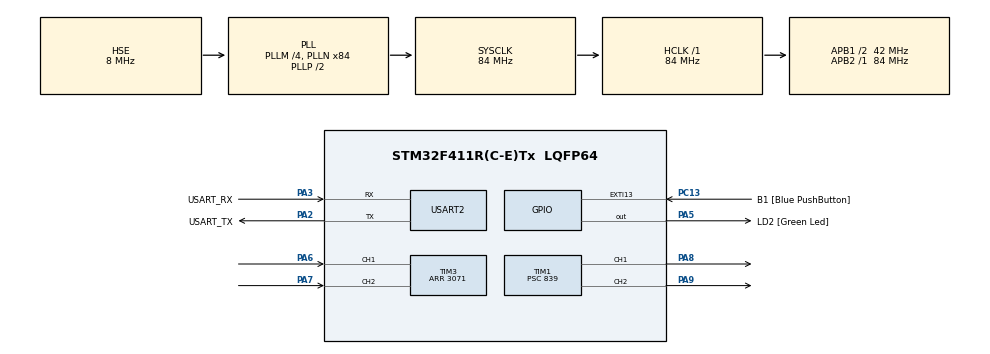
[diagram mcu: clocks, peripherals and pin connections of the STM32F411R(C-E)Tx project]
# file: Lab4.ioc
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ARM.CMSIS.5.6.0.CMSISJjCORE=true
ARM.CMSIS.5.6.0.CMSISJjDSP=Library
Mcu.Family=STM32F4
Mcu.Name=STM32F411R(C-E)Tx
Mcu.Package=LQFP64
NVIC.PriorityGroup=NVIC_PRIORITYGROUP_0
PA13.GPIO_Label=TMS
PA13.Mode=Trace_Asynchronous_SW
PA13.Signal=SYS_JTMS-SWDIO
PA14.GPIO_Label=TCK
PA14.Mode=Trace_Asynchronous_SW
PA14.Signal=SYS_JTCK-SWCLK
PA2.GPIO_Label=USART_TX
PA2.Mode=Asynchronous
PA2.Signal=USART2_TX
PA3.GPIO_Label=USART_RX
PA3.Mode=Asynchronous
PA3.Signal=USART2_RX
PA5.GPIO_Label=LD2 [Green Led]
PA5.Signal=GPIO_Output
PA6.Signal=S_TIM3_CH1
PA7.Signal=S_TIM3_CH2
PA8.Signal=S_TIM1_CH1
PA9.Signal=S_TIM1_CH2
PB3.GPIO_Label=SWO
PB3.Mode=Trace_Asynchronous_SW
PB3.Signal=SYS_JTDO-SWO
PC13-ANTI_TAMP.GPIO_Label=B1 [Blue PushButton]
PC13-ANTI_TAMP.GPIO_ModeDefaultEXTI=GPIO_MODE_IT_FALLING
PC13-ANTI_TAMP.Signal=GPXTI13
PC14-OSC32_IN.Mode=LSE-External-Oscillator
PC14-OSC32_IN.Signal=RCC_OSC32_IN
PC15-OSC32_OUT.Mode=LSE-External-Oscillator
PC15-OSC32_OUT.Signal=RCC_OSC32_OUT
PH0\ -\ OSC_IN.Mode=HSE-External-Clock-Source
PH0\ -\ OSC_IN.Signal=RCC_OSC_IN
PH1\ -\ OSC_OUT.Mode=HSE-External-Clock-Source
PH1\ -\ OSC_OUT.Signal=RCC_OSC_OUT
ProjectManager.HeapSize=0x200
ProjectManager.StackSize=0x400
ProjectManager.TargetToolchain=STM32CubeIDE
RCC.48MHZClocksFreq_Value=42000000
RCC.AHBFreq_Value=84000000
RCC.APB1CLKDivider=RCC_HCLK_DIV2
RCC.APB1Freq_Value=42000000
RCC.APB1TimFreq_Value=84000000
RCC.APB2Freq_Value=84000000
RCC.APB2TimFreq_Value=84000000
RCC.CortexFreq_Value=84000000
RCC.FLatency-AdvancedSettings=FLASH_LATENCY_2
RCC.HCLKFreq_Value=84000000
RCC.HSE_VALUE=8000000
RCC.HSI_VALUE=16000000
RCC.PLLM=4
RCC.PLLN=84
RCC.PLLSourceVirtual=RCC_PLLSOURCE_HSE
RCC.SYSCLKFreq_VALUE=84000000
RCC.SYSCLKSource=RCC_SYSCLKSOURCE_PLLCLK
RCC.VCOOutputFreq_Value=168000000
SH.S_TIM1_CH1.0=TIM1_CH1,PWM Generation1 CH1
SH.S_TIM1_CH2.0=TIM1_CH2,PWM Generation2 CH2
SH.S_TIM3_CH1.0=TIM3_CH1,Encoder_Interface
SH.S_TIM3_CH2.0=TIM3_CH2,Encoder_Interface
TIM1.Channel-PWM\ Generation1\ CH1=TIM_CHANNEL_1
TIM1.Channel-PWM\ Generation2\ CH2=TIM_CHANNEL_2
TIM1.OCMode_PWM-PWM\ Generation2\ CH2=TIM_OCMODE_PWM1
TIM1.Period=99
TIM1.Prescaler=839
TIM3.EncoderMode=TIM_ENCODERMODE_TI12
TIM3.Period=3071
USART2.VirtualMode=VM_ASYNC
VP_ARM.CMSIS_VS_CMSISJjCORE_5.3.0_5.6.0.Mode=CMSISJjCORE
VP_ARM.CMSIS_VS_CMSISJjDSP_1.7.0_5.6.0.Mode=CMSISJjDSP
VP_TIM1_VS_ClockSourceINT.Mode=Internal
board=NUCLEO-F411RE

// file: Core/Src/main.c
/* USER CODE BEGIN Header */
/**
  ******************************************************************************
  * @file           : main.c
  * @brief          : Main program body
  ******************************************************************************
  * @attention
  *
  * Copyright (c) 2023 STMicroelectronics.
  * All rights reserved.
  *
  * This software is licensed under terms that can be found in the LICENSE file
  * in the root directory of this software component.
  * If no LICENSE file comes with this software, it is provided AS-IS.
  *
  ******************************************************************************
  */
/* USER CODE END Header */
#include "main.h"

/* USER CODE BEGIN Includes */
#include "arm_math.h"
//�?ัณณ�?ัฒ�?�? เ�?ตุ�?�?�?ว
/* USER CODE END Includes */

TIM_HandleTypeDef htim1;
TIM_HandleTypeDef htim3;

UART_HandleTypeDef huart2;

/* USER CODE BEGIN PV */
uint32_t QEIReadRaw;
float count_encoder_round;
float current_position;
float setPosition;
float setPos;

uint32_t duty;
uint32_t Duty_A;
uint32_t Duty_B;

arm_pid_instance_f32 PID = {0};
float output_pid;
uint32_t settlingstate;
uint32_t settling_c;
 uint32_t settling_l;
 uint32_t settling_ll;
 uint32_t settling_lll;
 uint32_t settling_llll;

/* USER CODE END PV */

void SystemClock_Config(void);
static void MX_GPIO_Init(void);
static void MX_USART2_UART_Init(void);
static void MX_TIM1_Init(void);
static void MX_TIM3_Init(void);
/* USER CODE BEGIN PFP */
void PositionUpdate();
void DriveMotor();
/* USER CODE END PFP */

int main(void)
{

  /* MCU Configuration--------------------------------------------------------*/

  /* Reset of all peripherals, Initializes the Flash interface and the Systick. */
  HAL_Init();

  /* Configure the system clock */
  SystemClock_Config();

  /* Initialize all configured peripherals */
  MX_GPIO_Init();
  MX_USART2_UART_Init();
  MX_TIM1_Init();
  MX_TIM3_Init();
  /* USER CODE BEGIN 2 */
HAL_TIM_Encoder_Start(&htim3, TIM_CHANNEL_1|TIM_CHANNEL_2);

HAL_TIM_Base_Start(&htim1);
HAL_TIM_PWM_Start(&htim1, TIM_CHANNEL_1);
HAL_TIM_PWM_Start(&htim1, TIM_CHANNEL_2);

PID.Kp = 3;
PID.Ki = 0.000001064418;
PID.Kd = 19.5;
arm_pid_init_f32(&PID, 0);
  /* USER CODE END 2 */

  /* Infinite loop */
  while (1)
  {

    /* USER CODE BEGIN 3 */
	  static uint32_t timestamp = 0;
	  if (HAL_GetTick() >= timestamp) {
		timestamp = HAL_GetTick() + 10; //100,000Hz

		  	  PositionUpdate();
//			__HAL_TIM_SET_COMPARE(&htim1, TIM_CHANNEL_1, 100);
//			__HAL_TIM_SET_COMPARE(&htim1, TIM_CHANNEL_2, Duty_B);

//		  output_pid = arm_pid_f32(&PID, setPosition - current_position);

		  	  static float setPosition_ll;
		  	  if (0 <= setPos && setPos <= 36000) {
				setPosition = setPos;
			} else {
				setPosition = setPosition_ll;
			}
		  	  setPosition_ll = setPosition;

			  float errorpos = setPosition - current_position;

			  if (-1 <= errorpos && errorpos <= 1) settling_c = 1;
			  else settling_c = 0;
			  settling_llll = settling_lll;
			  settling_lll = settling_ll;
			  settling_ll = settling_l;
			  settling_l = settling_c;

			  if (settling_c == 1 && settling_l == 1 && settling_ll == 1 && settling_lll == 1 && settling_llll == 1) settlingstate = 1;

			  static float setPosition_l;
			  if (setPosition != setPosition_l) settlingstate = 0;
			  setPosition_l = setPosition;

			  if (settlingstate == 1)	output_pid = 0;
			  else if (settlingstate == 0)	output_pid = arm_pid_f32(&PID, setPosition - current_position);

		  DriveMotor();
	}

  }
  /* USER CODE END 3 */
}

void SystemClock_Config(void)
{
  RCC_OscInitTypeDef RCC_OscInitStruct = {0};
  RCC_ClkInitTypeDef RCC_ClkInitStruct = {0};

  /** Configure the main internal regulator output voltage
  */
  __HAL_RCC_PWR_CLK_ENABLE();
  __HAL_PWR_VOLTAGESCALING_CONFIG(PWR_REGULATOR_VOLTAGE_SCALE1);

  /** Initializes the RCC Oscillators according to the specified parameters
  * in the RCC_OscInitTypeDef structure.
  */
  RCC_OscInitStruct.OscillatorType = RCC_OSCILLATORTYPE_HSE;
  RCC_OscInitStruct.HSEState = RCC_HSE_BYPASS;
  RCC_OscInitStruct.PLL.PLLState = RCC_PLL_ON;
  RCC_OscInitStruct.PLL.PLLSource = RCC_PLLSOURCE_HSE;
  RCC_OscInitStruct.PLL.PLLM = 4;
  RCC_OscInitStruct.PLL.PLLN = 84;
  RCC_OscInitStruct.PLL.PLLP = RCC_PLLP_DIV2;
  RCC_OscInitStruct.PLL.PLLQ = 4;
  if (HAL_RCC_OscConfig(&RCC_OscInitStruct) != HAL_OK)
  {
    Error_Handler();
  }

  /** Initializes the CPU, AHB and APB buses clocks
  */
  RCC_ClkInitStruct.ClockType = RCC_CLOCKTYPE_HCLK|RCC_CLOCKTYPE_SYSCLK
                              |RCC_CLOCKTYPE_PCLK1|RCC_CLOCKTYPE_PCLK2;
  RCC_ClkInitStruct.SYSCLKSource = RCC_SYSCLKSOURCE_PLLCLK;
  RCC_ClkInitStruct.AHBCLKDivider = RCC_SYSCLK_DIV1;
  RCC_ClkInitStruct.APB1CLKDivider = RCC_HCLK_DIV2;
  RCC_ClkInitStruct.APB2CLKDivider = RCC_HCLK_DIV1;

  if (HAL_RCC_ClockConfig(&RCC_ClkInitStruct, FLASH_LATENCY_2) != HAL_OK)
  {
    Error_Handler();
  }
}

static void MX_TIM1_Init(void)
{

  TIM_ClockConfigTypeDef sClockSourceConfig = {0};
  TIM_MasterConfigTypeDef sMasterConfig = {0};
  TIM_OC_InitTypeDef sConfigOC = {0};
  TIM_BreakDeadTimeConfigTypeDef sBreakDeadTimeConfig = {0};

  htim1.Instance = TIM1;
  htim1.Init.Prescaler = 839;
  htim1.Init.CounterMode = TIM_COUNTERMODE_UP;
  htim1.Init.Period = 99;
  htim1.Init.ClockDivision = TIM_CLOCKDIVISION_DIV1;
  htim1.Init.RepetitionCounter = 0;
  htim1.Init.AutoReloadPreload = TIM_AUTORELOAD_PRELOAD_DISABLE;
  if (HAL_TIM_Base_Init(&htim1) != HAL_OK)
  {
    Error_Handler();
  }
  sClockSourceConfig.ClockSource = TIM_CLOCKSOURCE_INTERNAL;
  if (HAL_TIM_ConfigClockSource(&htim1, &sClockSourceConfig) != HAL_OK)
  {
    Error_Handler();
  }
  if (HAL_TIM_PWM_Init(&htim1) != HAL_OK)
  {
    Error_Handler();
  }
  sMasterConfig.MasterOutputTrigger = TIM_TRGO_RESET;
  sMasterConfig.MasterSlaveMode = TIM_MASTERSLAVEMODE_DISABLE;
  if (HAL_TIMEx_MasterConfigSynchronization(&htim1, &sMasterConfig) != HAL_OK)
  {
    Error_Handler();
  }
  sConfigOC.OCMode = TIM_OCMODE_PWM1;
  sConfigOC.Pulse = 0;
  sConfigOC.OCPolarity = TIM_OCPOLARITY_HIGH;
  sConfigOC.OCNPolarity = TIM_OCNPOLARITY_HIGH;
  sConfigOC.OCFastMode = TIM_OCFAST_DISABLE;
  sConfigOC.OCIdleState = TIM_OCIDLESTATE_RESET;
  sConfigOC.OCNIdleState = TIM_OCNIDLESTATE_RESET;
  if (HAL_TIM_PWM_ConfigChannel(&htim1, &sConfigOC, TIM_CHANNEL_1) != HAL_OK)
  {
    Error_Handler();
  }
  if (HAL_TIM_PWM_ConfigChannel(&htim1, &sConfigOC, TIM_CHANNEL_2) != HAL_OK)
  {
    Error_Handler();
  }
  sBreakDeadTimeConfig.OffStateRunMode = TIM_OSSR_DISABLE;
  sBreakDeadTimeConfig.OffStateIDLEMode = TIM_OSSI_DISABLE;
  sBreakDeadTimeConfig.LockLevel = TIM_LOCKLEVEL_OFF;
  sBreakDeadTimeConfig.DeadTime = 0;
  sBreakDeadTimeConfig.BreakState = TIM_BREAK_DISABLE;
  sBreakDeadTimeConfig.BreakPolarity = TIM_BREAKPOLARITY_HIGH;
  sBreakDeadTimeConfig.AutomaticOutput = TIM_AUTOMATICOUTPUT_DISABLE;
  if (HAL_TIMEx_ConfigBreakDeadTime(&htim1, &sBreakDeadTimeConfig) != HAL_OK)
  {
    Error_Handler();
  }
  HAL_TIM_MspPostInit(&htim1);

}

static void MX_TIM3_Init(void)
{

  TIM_Encoder_InitTypeDef sConfig = {0};
  TIM_MasterConfigTypeDef sMasterConfig = {0};

  htim3.Instance = TIM3;
  htim3.Init.Prescaler = 0;
  htim3.Init.CounterMode = TIM_COUNTERMODE_UP;
  htim3.Init.Period = 3071;
  htim3.Init.ClockDivision = TIM_CLOCKDIVISION_DIV1;
  htim3.Init.AutoReloadPreload = TIM_AUTORELOAD_PRELOAD_DISABLE;
  sConfig.EncoderMode = TIM_ENCODERMODE_TI12;
  sConfig.IC1Polarity = TIM_ICPOLARITY_RISING;
  sConfig.IC1Selection = TIM_ICSELECTION_DIRECTTI;
  sConfig.IC1Prescaler = TIM_ICPSC_DIV1;
  sConfig.IC1Filter = 0;
  sConfig.IC2Polarity = TIM_ICPOLARITY_RISING;
  sConfig.IC2Selection = TIM_ICSELECTION_DIRECTTI;
  sConfig.IC2Prescaler = TIM_ICPSC_DIV1;
  sConfig.IC2Filter = 0;
  if (HAL_TIM_Encoder_Init(&htim3, &sConfig) != HAL_OK)
  {
    Error_Handler();
  }
  sMasterConfig.MasterOutputTrigger = TIM_TRGO_RESET;
  sMasterConfig.MasterSlaveMode = TIM_MASTERSLAVEMODE_DISABLE;
  if (HAL_TIMEx_MasterConfigSynchronization(&htim3, &sMasterConfig) != HAL_OK)
  {
    Error_Handler();
  }

}

static void MX_USART2_UART_Init(void)
{

  huart2.Instance = USART2;
  huart2.Init.BaudRate = 115200;
  huart2.Init.WordLength = UART_WORDLENGTH_8B;
  huart2.Init.StopBits = UART_STOPBITS_1;
  huart2.Init.Parity = UART_PARITY_NONE;
  huart2.Init.Mode = UART_MODE_TX_RX;
  huart2.Init.HwFlowCtl = UART_HWCONTROL_NONE;
  huart2.Init.OverSampling = UART_OVERSAMPLING_16;
  if (HAL_UART_Init(&huart2) != HAL_OK)
  {
    Error_Handler();
  }

}

static void MX_GPIO_Init(void)
{
  GPIO_InitTypeDef GPIO_InitStruct = {0};

  /* GPIO Ports Clock Enable */
  __HAL_RCC_GPIOC_CLK_ENABLE();
  __HAL_RCC_GPIOH_CLK_ENABLE();
  __HAL_RCC_GPIOA_CLK_ENABLE();
  __HAL_RCC_GPIOB_CLK_ENABLE();

  /*Configure GPIO pin Output Level */
  HAL_GPIO_WritePin(LD2_GPIO_Port, LD2_Pin, GPIO_PIN_RESET);

  /*Configure GPIO pin : B1_Pin */
  GPIO_InitStruct.Pin = B1_Pin;
  GPIO_InitStruct.Mode = GPIO_MODE_IT_FALLING;
  GPIO_InitStruct.Pull = GPIO_NOPULL;
  HAL_GPIO_Init(B1_GPIO_Port, &GPIO_InitStruct);

  /*Configure GPIO pin : LD2_Pin */
  GPIO_InitStruct.Pin = LD2_Pin;
  GPIO_InitStruct.Mode = GPIO_MODE_OUTPUT_PP;
  GPIO_InitStruct.Pull = GPIO_NOPULL;
  GPIO_InitStruct.Speed = GPIO_SPEED_FREQ_LOW;
  HAL_GPIO_Init(LD2_GPIO_Port, &GPIO_InitStruct);

}

/* USER CODE BEGIN 4 */
void PositionUpdate()
{
	static uint32_t QEIReadRaw_l;
	QEIReadRaw = __HAL_TIM_GET_COUNTER(&htim3);
	if (QEIReadRaw_l < 100 && QEIReadRaw > 3000) {
		count_encoder_round--;
	}
	else if (QEIReadRaw_l > 3000 && QEIReadRaw < 100) {
		count_encoder_round++;
	}
	QEIReadRaw_l = QEIReadRaw;
	current_position = (count_encoder_round * 360) + (((float)QEIReadRaw) * 360 / 3072);
}

void DriveMotor()
{
	if (output_pid == 0)
	{
		Duty_A = 0;
		Duty_B = 0;
	}
	else if (output_pid > 0)
	{
		Duty_B = 0;
		if (output_pid < 22) Duty_A = 22;
		else if (output_pid <= 100) Duty_A = output_pid;
		else Duty_A = 100;
	}
	else if (output_pid < 0)
	{
		Duty_A = 0;
		if (output_pid > -22) Duty_B = 22;
		else if (output_pid >= -100) Duty_B = -(output_pid);
		else Duty_B = 100;
	}
	__HAL_TIM_SET_COMPARE(&htim1, TIM_CHANNEL_1, Duty_A);
	__HAL_TIM_SET_COMPARE(&htim1, TIM_CHANNEL_2, Duty_B);
}
/* USER CODE END 4 */

void Error_Handler(void)
{
  __disable_irq();
  while (1)
  {
  }
}
